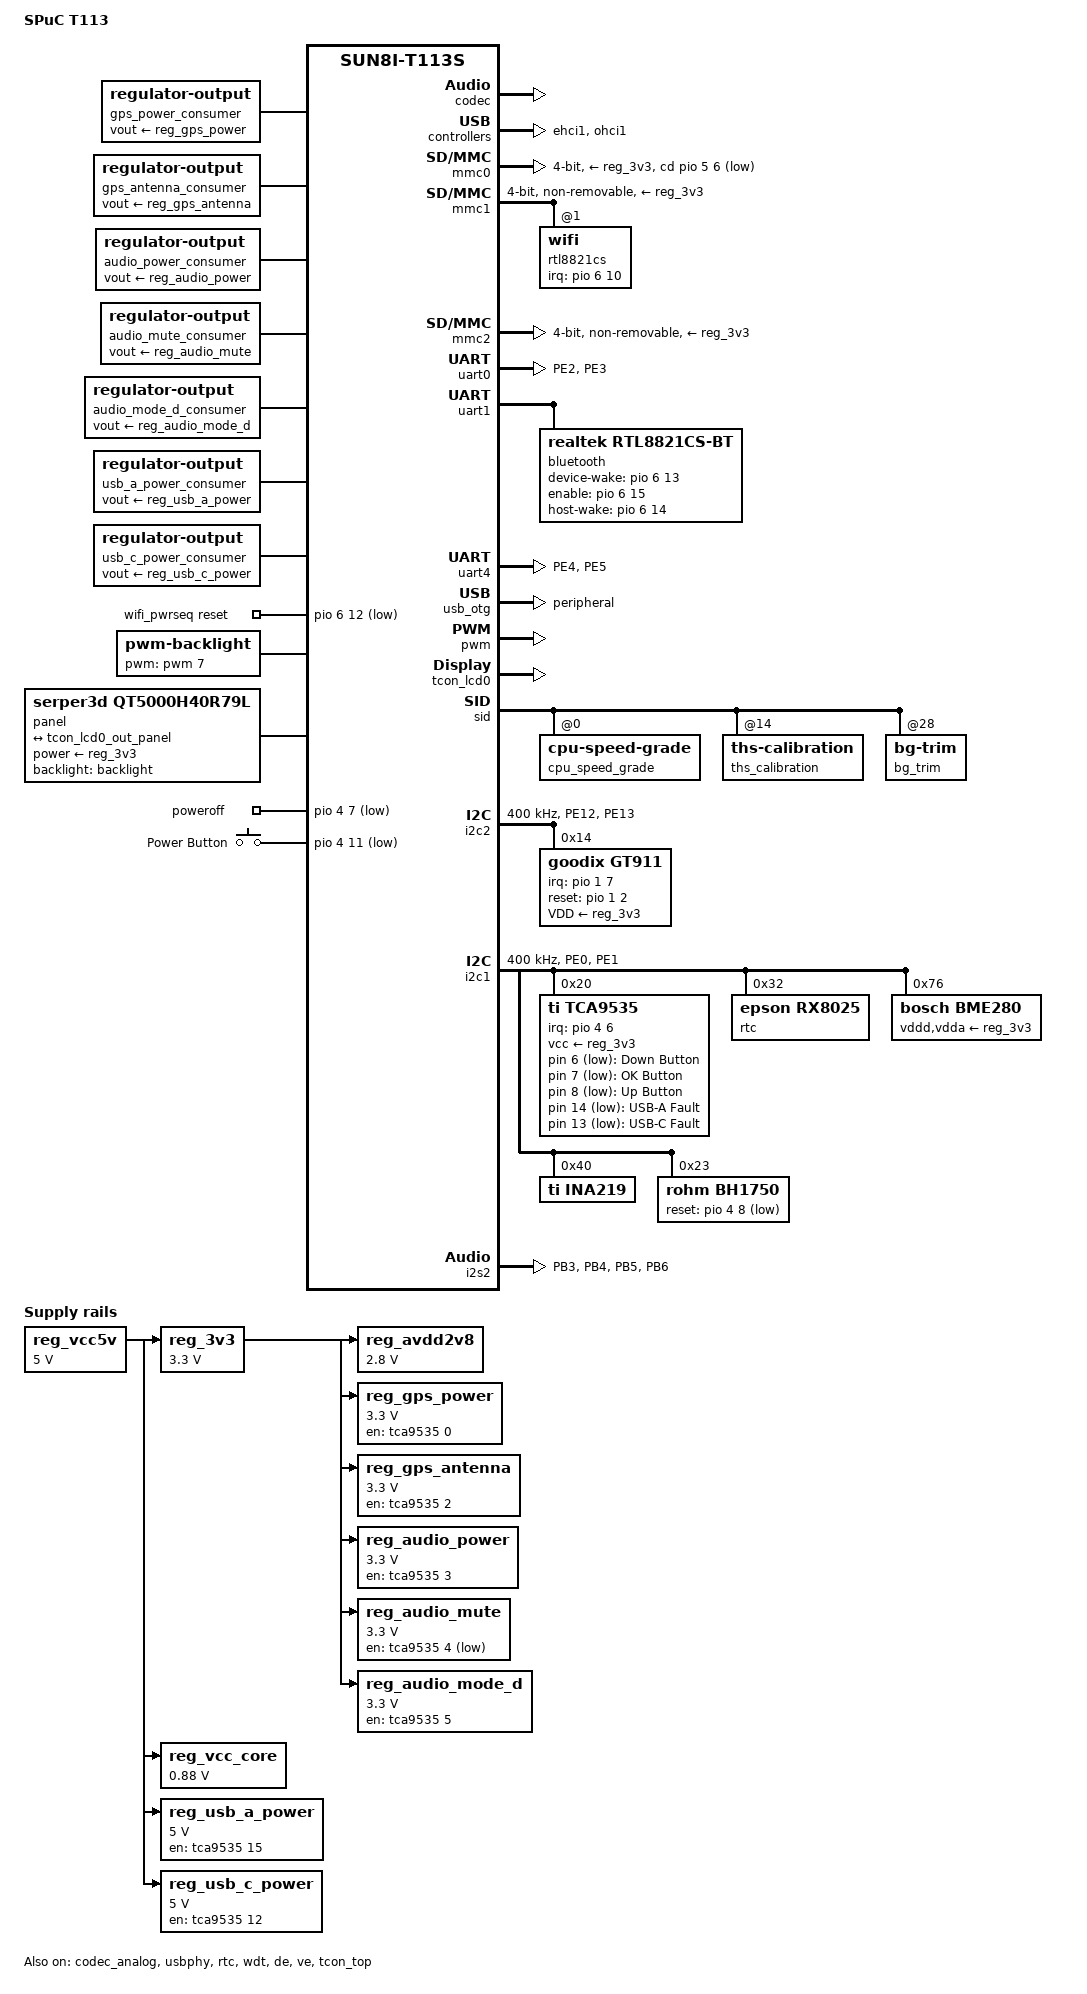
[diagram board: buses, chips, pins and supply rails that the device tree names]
// SPDX-License-Identifier: (GPL-2.0+ OR MIT)
// Copyright (C) 2022 Arm Ltd.

#include <dt-bindings/interrupt-controller/irq.h>

/dts-v1/;

#include "sun8i-t113-spuc.dtsi"
#include <dt-bindings/gpio/gpio.h>
#include <dt-bindings/leds/common.h>
#include <dt-bindings/input/input.h>
#include <dt-bindings/interrupt-controller/irq.h>
#include <dt-bindings/power/allwinner,sun20i-d1-ppu.h>

/ {
	model = "SPuC T113";
	compatible = "serper3d,spuc-t113", "allwinner,sun8i-t113s";

	aliases {
		wifi0 = &rtl8821cs;
                mmc0 = &mmc0;
                mmc2 = &mmc2;
                serial0 = &uart0;
                serial1 = &uart1;
                serial4 = &uart4;
	};

	// chosen {
	// 	stdout-path = "serial3:115200n8";
	// };

	/* board wide 5V supply directly from the USB-C socket */
	reg_vcc5v: regulator-5v {
		compatible = "regulator-fixed";
		regulator-name = "vcc-5v";
		regulator-min-microvolt = <5000000>;
		regulator-max-microvolt = <5000000>;
		regulator-always-on;
	};

	/* SY8008 DC/DC regulator on the board */
	reg_3v3: regulator-3v3 {
		compatible = "regulator-fixed";
		regulator-name = "vcc-3v3";
		regulator-min-microvolt = <3300000>;
		regulator-max-microvolt = <3300000>;
		vin-supply = <&reg_vcc5v>;
	};

	/* SY8008 DC/DC regulator on the board, also supplying VDD-SYS */
	reg_vcc_core: regulator-core {
		compatible = "regulator-fixed";
		regulator-name = "vcc-core";
		regulator-min-microvolt = <880000>;
		regulator-max-microvolt = <880000>;
		vin-supply = <&reg_vcc5v>;
	};

	/* XC6206 LDO on the board */
	reg_avdd2v8: regulator-avdd {
		compatible = "regulator-fixed";
		regulator-name = "avdd2v8";
		regulator-min-microvolt = <2800000>;
		regulator-max-microvolt = <2800000>;
		vin-supply = <&reg_3v3>;
	};

	/* GPS Power Control */
	reg_gps_power: regulator-gps-power {
		compatible = "regulator-fixed";
		regulator-name = "gps-power";
		regulator-min-microvolt = <3300000>;
		regulator-max-microvolt = <3300000>;
		gpio = <&tca9535 0 GPIO_ACTIVE_HIGH>; /* gps-on-off */
		enable-active-high;
		regulator-boot-off;
		vin-supply = <&reg_3v3>;
	};

	reg_gps_antenna: regulator-gps-antenna {
		compatible = "regulator-fixed";
		regulator-name = "gps-antenna";
		regulator-min-microvolt = <3300000>;
		regulator-max-microvolt = <3300000>;
		gpio = <&tca9535 2 GPIO_ACTIVE_HIGH>; /* gps-ant-power */
		enable-active-high;
		regulator-boot-off;
		vin-supply = <&reg_3v3>;
	};

	/* Audio Power Control */
	reg_audio_power: regulator-audio-power {
		compatible = "regulator-fixed";
		regulator-name = "audio-power";
		regulator-min-microvolt = <3300000>;
		regulator-max-microvolt = <3300000>;
		gpio = <&tca9535 3 GPIO_ACTIVE_HIGH>; /* audio-power */
		enable-active-high;
		regulator-boot-off;
		vin-supply = <&reg_3v3>;
	};

	reg_audio_mute: regulator-audio-mute {
		compatible = "regulator-fixed";
		regulator-name = "audio-mute";
		regulator-min-microvolt = <3300000>;
		regulator-max-microvolt = <3300000>;
		gpio = <&tca9535 4 GPIO_ACTIVE_LOW>; /* audio-mute */
		enable-active-low;
		regulator-boot-on;
		vin-supply = <&reg_3v3>;
	};

	reg_audio_mode_d: regulator-audio-mode-d {
		compatible = "regulator-fixed";
		regulator-name = "audio-mode-d";
		regulator-min-microvolt = <3300000>;
		regulator-max-microvolt = <3300000>;
		gpio = <&tca9535 5 GPIO_ACTIVE_HIGH>; /* audio-mode-d */
		enable-active-high;
		regulator-boot-on;
		vin-supply = <&reg_3v3>;
	};

	/* USB Power Control */
	reg_usb_a_power: regulator-usb-a-power {
		compatible = "regulator-fixed";
		regulator-name = "usb-a-power";
		regulator-min-microvolt = <5000000>;
		regulator-max-microvolt = <5000000>;
		gpio = <&tca9535 15 GPIO_ACTIVE_HIGH>; /* usb-a-en */
		enable-active-high;
		regulator-boot-off;
		vin-supply = <&reg_vcc5v>;
	};

	reg_usb_c_power: regulator-usb-c-power {
		compatible = "regulator-fixed";
		regulator-name = "usb-c-power";
		regulator-min-microvolt = <5000000>;
		regulator-max-microvolt = <5000000>;
		gpio = <&tca9535 12 GPIO_ACTIVE_HIGH>; /* usb-c-en */
		enable-active-high;
		regulator-boot-off;
		vin-supply = <&reg_vcc5v>;
	};

	/* Userspace consumers for GPIO control */
	gps_power_consumer: gps-power-consumer {
		compatible = "regulator-output";
		regulator-name = "gps-power-consumer";
		vout-supply = <&reg_gps_power>;
	};

	gps_antenna_consumer: gps-antenna-consumer {
		compatible = "regulator-output";
		regulator-name = "gps-antenna-consumer";
		vout-supply = <&reg_gps_antenna>;
	};

	audio_power_consumer: audio-power-consumer {
		compatible = "regulator-output";
		regulator-name = "audio-power-consumer";
		vout-supply = <&reg_audio_power>;
	};

	audio_mute_consumer: audio-mute-consumer {
		compatible = "regulator-output";
		regulator-name = "audio-mute-consumer";
		vout-supply = <&reg_audio_mute>;
	};

	audio_mode_d_consumer: audio-mode-d-consumer {
		compatible = "regulator-output";
		regulator-name = "audio-mode-d-consumer";
		vout-supply = <&reg_audio_mode_d>;
	};

	usb_a_power_consumer: usb-a-power-consumer {
		compatible = "regulator-output";
		regulator-name = "usb-a-power-consumer";
		vout-supply = <&reg_usb_a_power>;
	};

	usb_c_power_consumer: usb-c-power-consumer {
		compatible = "regulator-output";
		regulator-name = "usb-c-power-consumer";
		vout-supply = <&reg_usb_c_power>;
	};

	wifi_pwrseq: wifi-pwrseq {
		compatible = "mmc-pwrseq-simple";
		reset-gpios = <&pio 6 12 GPIO_ACTIVE_LOW>; /* PG12 */
	};

        backlight: backlight {
                compatible = "pwm-backlight";
                pwms = <&pwm 7 5000000 0>;
                pinctrl-0 = <&pwm7_pd22_pin>;
                pinctrl-names = "default";
                brightness-levels = <0 1000>;
                num-interpolated-steps = <1000>;
                default-brightness-level = <200>;
                status = "okay";
        };

        panel {
                compatible = "serper3d,qt5000h40r79l";
                backlight = <&backlight>;
                power-supply = <&reg_3v3>;
                status = "okay";

                port {
                        panel_input: endpoint {
                                remote-endpoint = <&tcon_lcd0_out_panel>;
                        };
                };
        };

        poweroff {
                compatible = "gpio-poweroff";
                gpios = <&pio 4 7 GPIO_ACTIVE_LOW>;   /* PE7 */
                timeout-ms = <300>;        /* mantener la línea 300 ms */
                post-delay-ms = <200>;     /* dar tiempo a que el ATtiny corte */
                priority = <255>;          /* gana frente a otros handlers */
                force;                     /* (opcional) sigue aunque la línea parezca ocupada */
                status = "okay";
        };


        gpio-keys {
                compatible = "gpio-keys";
                status = "okay";

                key-power {
                        label = "Power Button";
                        gpios = <&pio 4 11 GPIO_ACTIVE_LOW>; // PE11
                        linux,code = <KEY_WAKEUP>;
                        wakeup-source;
                        debounce-interval = <50>;
                };

                key-down {
                        label = "Down Button";
                        gpios = <&tca9535 6 GPIO_ACTIVE_LOW>; // TCA9535 pin 6
                        linux,code = <KEY_DOWN>;
                        autorepeat;
                };
                
                key-ok {
                        label = "OK Button";
                        gpios = <&tca9535 7 GPIO_ACTIVE_LOW>; // TCA9535 pin 7
                        linux,code = <KEY_ENTER>;
                        wakeup-source;
                };
                
                key-up {
                        label = "Up Button";
                        gpios = <&tca9535 8 GPIO_ACTIVE_LOW>; // TCA9535 pin 8
                        linux,code = <KEY_UP>;
                        autorepeat;
                };

                usb-a-fault {
                        label = "USB-A Fault";
                        gpios = <&tca9535 14 GPIO_ACTIVE_LOW>; /* usb-a-fault */
                        linux,code = <KEY_F13>; /* Código único para USB-A */
                        debounce-interval = <100>;
                        wakeup-source;
                };
                
                usb-c-fault {
                        label = "USB-C Fault";
                        gpios = <&tca9535 13 GPIO_ACTIVE_LOW>; /* usb-c-fault */
                        linux,code = <KEY_F14>; /* Código único para USB-C */
                        debounce-interval = <100>;
                        wakeup-source;
                };
        };

        // sound_i2s {
        //         compatible = "simple-audio-card";
        //         simple-audio-card,name = "rtl8821cs-i2s";
        //         simple-audio-card,format = "i2s";
        //         simple-audio-card,bitclock-master = <&codec_dai>;
        //         simple-audio-card,frame-master = <&codec_dai>;
        //         status = "okay";
                
        //         simple-audio-card,cpu {
        //                 sound-dai = <&i2s2>;
        //                 dai-tdm-slot-num = <2>;
        //                 dai-tdm-slot-width = <32>;
        //         };
                
        //         codec_dai: simple-audio-card,codec {
        //                 sound-dai = <&rtl8821cs_codec>;
        //         };
        // };

        // rtl8821cs_codec: rtl8821cs-codec {
        //         compatible = "linux,bt-sco";
        //         #sound-dai-cells = <0>;
        //         status = "okay";
        // };
};

&codec {
        status = "okay";
};

&codec_analog {
        status = "okay";
};

&dcxo {
	clock-frequency = <24000000>;
};

&ehci1 {
	status = "okay";
};

&mmc0 {
	pinctrl-0 = <&mmc0_pins>;
	pinctrl-names = "default";
	vmmc-supply = <&reg_3v3>;
	cd-gpios = <&pio 5 6 GPIO_ACTIVE_LOW>;
	disable-wp;
	bus-width = <4>;
	status = "okay";
};

&mmc1 {
	pinctrl-0 = <&mmc1_pins>;
	pinctrl-names = "default";
	vmmc-supply = <&reg_3v3>;
	non-removable;
	bus-width = <4>;
	mmc-pwrseq = <&wifi_pwrseq>;
	broken-cd;
	disable-wp;
	max-frequency = <50000000>;  /* SD high-speed: 50MHz */
	status = "okay";

	rtl8821cs: wifi@1 {
		reg = <1>;
		interrupt-parent = <&pio>;
		interrupts = <6 10 IRQ_TYPE_LEVEL_LOW>;  /* PG10, LEVEL_LOW */
		interrupt-names = "host-wake";
	};
};

&mmc2 {
    status = "okay";
    bus-width = <4>;
    max-frequency = <150000000>;
    pinctrl-0 = <&mmc2_pins>;
    pinctrl-names = "default";
    vmmc-supply = <&reg_3v3>;
    vqmmc-supply = <&reg_3v3>;
    cap-sd-highspeed;
    sd-uhs-ddr50;
    no-1-8-v;
    full-pwr-cycle;
    disable-wp;
    non-removable;
};

&ohci1 {
	status = "okay";
};

&pio {
	vcc-pb-supply = <&reg_3v3>;
	vcc-pd-supply = <&reg_3v3>;
	vcc-pe-supply = <&reg_avdd2v8>;
	vcc-pf-supply = <&reg_3v3>;
	vcc-pg-supply = <&reg_3v3>;

        clk_pg11_pin: clk-pg11-pin {
                pins = "PG11";
                function = "clk";
        };

        /omit-if-no-ref/
        uart0_pe2_pins: uart0-pe2-pins {
                pins = "PE2", "PE3";
                function = "uart0";
        };

        /omit-if-no-ref/
        uart4_pe4_pins: uart4-pe4-pins {
                pins = "PE4", "PE5";
                function = "uart4";
        };

        /omit-if-no-ref/
        i2c1_pe0_pins: i2c1_pe0_pins {
                pins = "PE0", "PE1";
                function = "i2c1";
        };

        /omit-if-no-ref/
        i2c2_pe12_pins: i2c2-pe12-pins {
                pins = "PE12", "PE13";
                function = "i2c2";
        };

        /omit-if-no-ref/
        pwm7_pd22_pin: pwm7-pd22-pin {
                pins = "PD22";
                function = "pwm7";
        };

        /omit-if-no-ref/
        i2s2_pb_din_pins: i2s2-pb-din-pins {
                pins = "PB3";
                function = "i2s2_din";
        };

        i2s2_pb_dout_pins: i2s2-pb-dout-pins {
                pins = "PB4";
                function = "i2s2_dout";
        };

        /omit-if-no-ref/
        i2s2_pb_control_pins: i2s2-pb-control-pins {
                pins = "PB5", "PB6";
                function = "i2s2";
        };    
};

&uart0 {
        pinctrl-0 = <&uart0_pe2_pins>;
        pinctrl-names = "default";
        status = "okay";
};

&uart1 {
        uart-has-rtscts;
        pinctrl-0 = <&uart1_pg6_pins>, <&uart1_pg8_rts_cts_pins>;
        pinctrl-names = "default";
        status = "okay";

        bluetooth {
                compatible = "realtek,rtl8821cs-bt", "realtek,rtl8723bs-bt";
                device-wake-gpios = <&pio 6 13 GPIO_ACTIVE_HIGH>; /* PG13 */
                enable-gpios = <&pio 6 15 GPIO_ACTIVE_HIGH>; /* PG15 */
                host-wake-gpios = <&pio 6 14 GPIO_ACTIVE_HIGH>; /* PG14 */
                max-speed = <1500000>;
                uart-has-rtscts;
                // audio-interface = "i2s"; /* Especificar I2S en lugar de PCM */
        };
};

&uart4 {
	pinctrl-names = "default";
	pinctrl-0 = <&uart4_pe4_pins>;
	status = "okay";
};

/* The USB-C socket has its CC pins pulled to GND, so is hardwired as a UFP. */
&usb_otg {
	dr_mode = "peripheral";
	status = "okay";
};

&usbphy {
	usb1_vbus-supply = <&reg_vcc5v>;
	status = "okay";
};

&rtc {
        wakeup-source;
        status = "okay";
};

&wdt {
        status = "okay";
};

&de {
        status = "okay";
};

&ve {
    status = "okay";
};

&pwm {
        status = "okay";
};

&tcon_top {
    status = "okay";
};

&tcon_lcd0 {
        pinctrl-names = "default";
        pinctrl-0 = <&lcd_rgb666_pins>;
        status = "okay";
};

&tcon_lcd0_out {
        tcon_lcd0_out_panel: endpoint@0 {
                reg = <0>;
                remote-endpoint = <&panel_input>;
        };
};

&display_clocks {
        status = "okay";
};

&sid {
        cpu_speed_grade: cpu-speed-grade@0 {
                reg = <0x0 0x2>;
        };

        ths_calibration: ths-calibration@14 {
                reg = <0x14 0x4>;
        };

        bg_trim: bg-trim@28 {
                reg = <0x28 0x4>;
                bits = <16 8>;
        };
};

&i2c2 {
        pinctrl-0 = <&i2c2_pe12_pins>;
        pinctrl-names = "default";
        status = "okay";
        clock-frequency = <400000>;

        gt911@14 {
                compatible = "goodix,gt911";
                reg = <0x14>;
                interrupt-parent = <&pio>;
                interrupts = <1 7 IRQ_TYPE_EDGE_RISING>;

                irq-gpios = <&pio 1 7 GPIO_ACTIVE_HIGH>; /* PE7 */
                reset-gpios = <&pio 1 2 GPIO_ACTIVE_HIGH>;

                touchscreen-size-x = <800>;
                touchscreen-size-y = <480>;
                // touchscreen-swapped-x-y;

                VDD-supply = <&reg_3v3>;

                status = "okay";
                wakeup-source;
        };
};

&i2c1 {
        pinctrl-0 = <&i2c1_pe0_pins>;
        pinctrl-names = "default";
        status = "okay";
        clock-frequency = <400000>;

        tca9535: gpio@20 {
                compatible = "ti,tca9535";
                reg = <0x20>;
                gpio-controller;
                #gpio-cells = <2>;
                interrupt-parent = <&pio>;
                interrupts = <4 6 IRQ_TYPE_EDGE_FALLING>; /* PE6 */
                interrupt-controller;
                #interrupt-cells = <2>;
                ti,enable-auto-increment; // Añadir soporte AI
                vcc-supply = <&reg_3v3>;
                
                status = "okay";
                wakeup-source;
            
            gpio-line-names = 
                "gps-on-off", "none", "gps-ant-power", "audio-power",
                "audio-mute", "audio-mode", "button-down", "button-ok",
                "button-up", "io1-1", "io1-2", "io1-3",
                "usb-c-en", "usb-c-fault", "usb-a-fault", "usb-a-en";

           none-sel-hog {
                gpio-hog;
                gpios = <1 GPIO_ACTIVE_HIGH>;
                input;
                bias-pull-up;
                line-name = "none-sel";
           };
        };

        rtc@32 {
                compatible = "epson,rx8025";
                reg = <0x32>;
                status = "okay";
                #clock-cells = <0>;
        };

        bme280@76 {
                compatible = "bosch,bme280";
                reg = <0x76>;
                status = "okay";
                vddd-supply = <&reg_3v3>;  // Digital supply
                vdda-supply = <&reg_3v3>;  // Analog supply
        };

        // max30102@57 {
        //         compatible = "maxim,max30102";
        //         reg = <0x57>;
        //         interrupt-parent = <&pio>;
        //         interrupts = <4 9 IRQ_TYPE_EDGE_FALLING>; /* PE9 */
        //         status = "okay";
        //         maxim,red-led-current-microamp = <7000>;
        //         maxim,ir-led-current-microamp = <7000>;
        // };

        ina219@40 {
                compatible = "ti,ina219";
                reg = <0x40>;
                #io-channel-cells = <1>;
                status = "okay";
                shunt-resistor = <100000>; /* 100000 micro-ohms = 0.1 ohm */
        };
        
        bh1750: light-sensor@23 {
                compatible = "rohm,bh1750";
                reg = <0x23>; // Dirección I2C del BH1750FVI
                reset-gpios = <&pio 4 8 GPIO_ACTIVE_LOW>; //PE8
                status = "okay";
        };
};

&i2s2 {
    status = "okay";
    
    pinctrl-names = "default";
    pinctrl-0 = <&i2s2_pb_din_pins &i2s2_pb_dout_pins &i2s2_pb_control_pins>;
};
